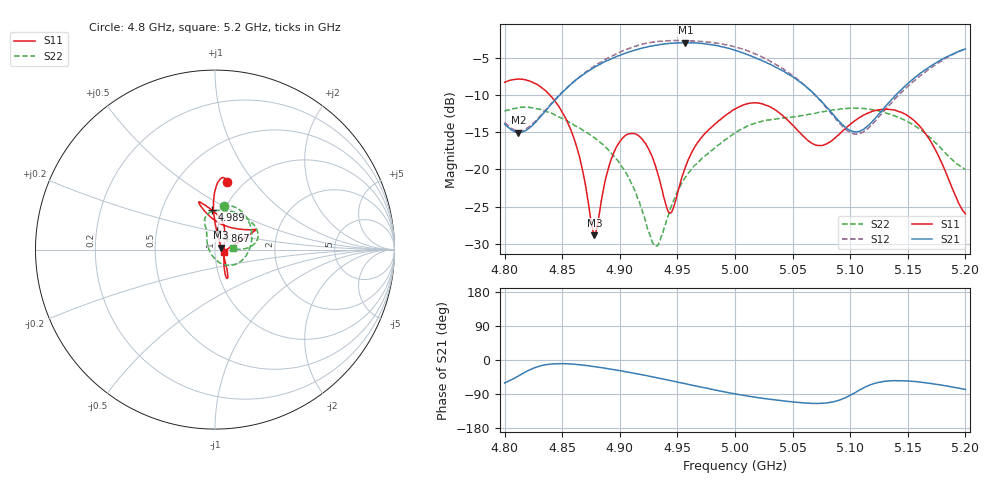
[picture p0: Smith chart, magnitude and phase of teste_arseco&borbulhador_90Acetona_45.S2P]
! Network Analyzer HP8722D
! Hewlett-Packard
! Data name: Linha & Wilkinson
! Saver's name: Rodrigo Anjos
! Comments: Teste da utilização de aquisição
! continua pelo VNA HP8722D
! Time and date: 17/4/2025 11:25
!  Frequency  S11  S21  S12  S22
# HZ  S  MA R 50
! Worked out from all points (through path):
!   401 points, 4.8 GHz to 5.2 GHz, reference 50 ohm
!   highest |S21| = -2.97 dB at 4.957 GHz (marker M1); lowest = -15.1 dB at 4.812 GHz (marker M2)
!   lowest |S11| = -28.8 dB at 4.878 GHz (marker M3), VSWR 1.08, Z = 53.6 + j1.15 ohm
!   |S11| at or under -10 dB: 4.839 GHz to end of sweep
!   |S22| runs from -30.3 to -11.6 dB; largest |S21 - S12| = 1.4
!   S11 on the Smith chart (normalised r, x): 4.8 GHz: 0.84, +0.75; 4.867 GHz: 1.00, +0.21; 4.989 GHz: 0.88, +0.41; 5.2 GHz: 1.10, -0.03
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4.8e9  0.3842 79.7  0.2015 -60.7  0.2065 74.4  0.2453 78.6
4.812e9  0.4043 83.3  0.1767 -42.2  0.1816 91.2  0.2602 67.8
4.845e9  0.2785 91.5  0.2987 -9.8  0.3012 123.0  0.2296 28.0
4.858e9  0.1797 91.1  0.3754 -10.6  0.3763 124.1  0.2042 9.2
4.867e9  0.1043 84.6  0.4265 -13.3  0.4284 123.4  0.1857 -4.4
4.878e9  0.03615 17.2  0.4849 -17.5  0.4924 121.0  0.1634 -21.1
4.891e9  0.1077 -54.9  0.5443 -23.8  0.5658 116.9  0.1325 -39.5
4.904e9  0.1665 -64.6  0.5986 -30.2  0.6295 111.6  0.09926 -57.9
4.92e9  0.1577 -68.0  0.6529 -39.5  0.6957 102.7  0.05088 -91.8
4.929e9  0.1165 -63.9  0.6748 -44.7  0.7171 97.3  0.03168 -136.9
4.934e9  0.08788 -55.5  0.6863 -48.0  0.7254 94.0  0.03217 -175.0
4.944e9  0.05083 0.2  0.7023 -54.4  0.7316 87.5  0.05488 141.5
4.957e9  0.1037 58.5  0.71 -62.6  0.7318 79.3  0.08878 121.2
4.969e9  0.1562 73.8  0.7018 -70.4  0.7238 71.6  0.1135 114.4
4.989e9  0.2219 94.5  0.6641 -82.9  0.694 58.5  0.152 111.9
5e9  0.2544 102.8  0.6317 -89.5  0.6663 51.4  0.1761 109.6
5.03e9  0.2644 108.8  0.5096 -103.4  0.536 35.1  0.2141 92.1
5.067e9  0.1492 80.6  0.3315 -114.4  0.3295 26.3  0.2362 59.3
5.103e9  0.2091 32.0  0.179 -88.2  0.1732 55.9  0.2577 27.3
5.134e9  0.253 26.0  0.2832 -55.1  0.2708 91.0  0.2355 11.3
5.164e9  0.1795 21.3  0.4598 -59.5  0.4449 88.3  0.1778 2.6
5.2e9  0.05036 -16.7  0.6429 -77.7  0.6456 71.3  0.1004 4.5
